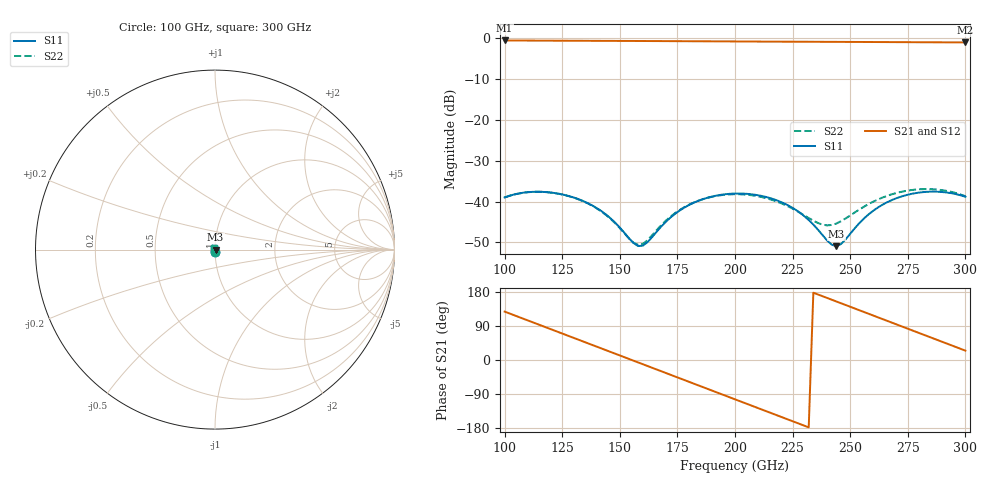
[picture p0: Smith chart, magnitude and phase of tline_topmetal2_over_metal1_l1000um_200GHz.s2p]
#  GHZ S DB R 50
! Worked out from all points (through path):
!   101 points, 100 GHz to 300 GHz, reference 50 ohm
!   highest |S21| = -0.53 dB at 100 GHz (marker M1); lowest = -1.0 dB at 300 GHz (marker M2)
!   group delay of S21, straight-line fit = 6.43 ps
!   lowest |S11| = -50.9 dB at 244 GHz (marker M3), VSWR 1.01, Z = 50.3 - j0.0153 ohm
!   |S11| at or under -10 dB: start of sweep to end of sweep
!   |S22| runs from -50.6 to -37.0 dB; largest |S21 - S12| = 2.1e-14
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100  -38.99 -75.7  -0.53 127.7  -0.53 127.7  -39.01 -75.6
108  -37.85 -100.9  -0.55 109.2  -0.55 109.2  -37.85 -100.8
116  -37.62 -125.4  -0.57 90.7  -0.57 90.7  -37.63 -125.3
124  -38.14 -149.8  -0.59 72.2  -0.59 72.2  -38.16 -149.6
134  -39.86 178.8  -0.61 49.1  -0.61 49.1  -39.91 178.8
146  -44.13 134.2  -0.63 21.3  -0.63 21.3  -44.25 133.4
158  -50.91 44.6  -0.66 -6.5  -0.66 -6.5  -50.63 41.4
162  -49.98 -0.9  -0.67 -15.8  -0.67 -15.8  -49.49 -2.2
168  -46.12 -46.1  -0.68 -29.7  -0.68 -29.7  -45.79 -45.6
184  -39.84 -110.8  -0.73 -66.7  -0.73 -66.7  -39.82 -110.5
192  -38.54 -136.5  -0.75 -85.3  -0.75 -85.3  -38.61 -136.9
200  -38.04 -161.0  -0.77 -103.8  -0.77 -103.8  -38.21 -162.5
208  -38.28 174.7  -0.79 -122.3  -0.79 -122.3  -38.53 171.7
218  -39.68 143.8  -0.82 -145.4  -0.82 -145.4  -39.97 137.2
226  -41.90 116.8  -0.84 -163.9  -0.84 -163.9  -42.05 104.8
234  -45.65 82.8  -0.85 177.6  -0.85 177.6  -44.70 61.6
244  -50.94 -3.1  -0.87 154.4  -0.87 154.4  -45.39 -13.2
256  -44.15 -96.5  -0.90 126.6  -0.90 126.6  -41.26 -81.7
268  -39.66 -140.7  -0.93 98.8  -0.93 98.8  -38.24 -126.8
276  -38.20 -165.6  -0.95 80.3  -0.95 80.3  -37.23 -152.7
284  -37.60 170.3  -0.97 61.7  -0.97 61.7  -36.95 -177.4
300  -38.82 121.0  -1.01 24.7  -1.01 24.7  -38.70 132.7
